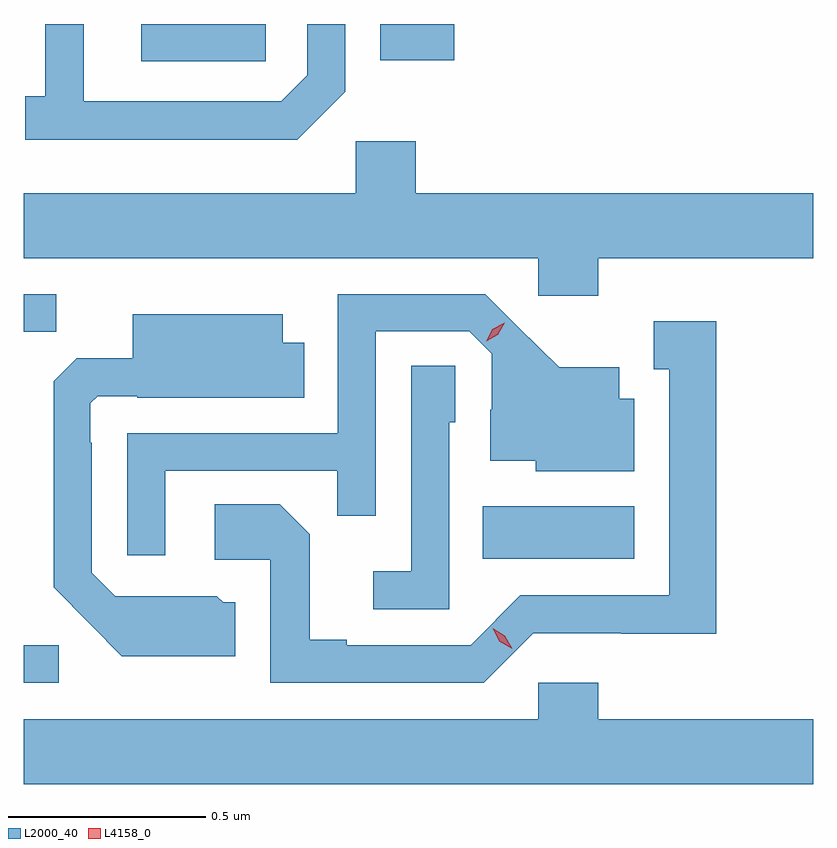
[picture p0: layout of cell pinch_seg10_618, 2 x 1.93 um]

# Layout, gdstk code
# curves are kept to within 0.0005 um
import gdstk
lib = gdstk.Library(unit=1e-6, precision=1e-09)
def R(c, l, rs):  # rectangles x0, y0, x1, y1
    for r in rs: c.add(gdstk.rectangle(r[:2], r[2:], *l))
def P(c, l, *ps):  # polygons
    for p in ps: c.add(gdstk.Polygon(p, *l))
L2000_40 = (2000, 40)
L4158_0 = (4158, 0)

pinch_seg10_618 = lib.new_cell('pinch_seg10_618')
R(pinch_seg10_618, L2000_40, [(377.741,1283.256,377.83,1283.352), (378.904,1283.57,379.288,1283.704), (377.741,1284.145,377.823,1284.24), (378.039,1284.831,378.354,1284.925), (378.644,1284.833,378.832,1284.925)])
P(pinch_seg10_618, L2000_40, [(378.555,1284.753),(378.555,1284.925),(378.459,1284.925),(378.459,1284.795),(378.393,1284.729),(377.893,1284.729),(377.893,1284.925),(377.796,1284.925),(377.796,1284.742),(377.745,1284.742),(377.745,1284.632),(378.434,1284.632)],
  [(379.196,1284.332),(379.741,1284.332),(379.741,1284.496),(378.734,1284.496),(378.734,1284.628),(378.582,1284.628),(378.582,1284.496),(377.741,1284.496),(377.741,1284.332),(379.044,1284.332),(379.044,1284.237),(379.196,1284.237)],
  [(378.099,1283.793),(378.535,1283.793),(378.535,1283.68),(378.633,1283.68),(378.633,1284.147),(378.87,1284.147),(378.927,1284.09),(378.927,1283.948),(378.923,1283.948),(378.923,1283.819),(379.038,1283.819),(379.038,1283.792),(379.288,1283.792),(379.288,1283.976),(379.249,1283.976),(379.249,1284.055),(379.097,1284.055),(378.91,1284.24),(378.537,1284.24),(378.537,1283.889),(378.003,1283.889),(378.003,1283.58),(378.099,1283.58)],
  [(378.277,1283.46),(378.246,1283.46),(378.23,1283.476),(378.096,1283.476),(378.096,1283.475),(377.973,1283.475),(377.913,1283.535),(377.913,1283.864),(377.91,1283.864),(377.91,1283.964),(377.928,1283.982),(378.028,1283.982),(378.028,1283.978),(378.452,1283.978),(378.452,1284.118),(378.397,1284.118),(378.397,1284.19),(378.017,1284.19),(378.017,1284.079),(377.876,1284.079),(377.817,1284.02),(377.817,1283.498),(377.989,1283.324),(378.277,1283.324)],
  [(379.032,1283.382),(379.254,1283.382),(379.254,1283.381),(379.495,1283.381),(379.495,1284.172),(379.337,1284.172),(379.337,1284.051),(379.376,1284.051),(379.376,1283.478),(378.999,1283.478),(378.873,1283.352),(378.559,1283.352),(378.559,1283.365),(378.465,1283.365),(378.465,1283.632),(378.389,1283.708),(378.225,1283.708),(378.225,1283.568),(378.366,1283.568),(378.366,1283.256),(378.906,1283.256)],
  [(378.819,1283.916),(378.834,1283.916),(378.834,1284.059),(378.723,1284.059),(378.723,1283.539),(378.627,1283.539),(378.627,1283.442),(378.819,1283.442)],
  [(379.741,1283.164),(379.196,1283.164),(379.196,1283.257),(379.044,1283.257),(379.044,1283.164),(377.741,1283.164),(377.741,1283),(379.741,1283)])
P(pinch_seg10_618, L4158_0, [(378.978,1283.342),(378.946,1283.361),(378.929,1283.394),(378.929,1283.394),(378.929,1283.394),(378.96,1283.375),(378.978,1283.342),(378.978,1283.342)],
  [(378.912,1284.122),(378.912,1284.122),(378.928,1284.152),(378.959,1284.168),(378.959,1284.168),(378.959,1284.168),(378.942,1284.138),(378.912,1284.122)])

lib.write_gds('pinch_seg10_618.gds')
